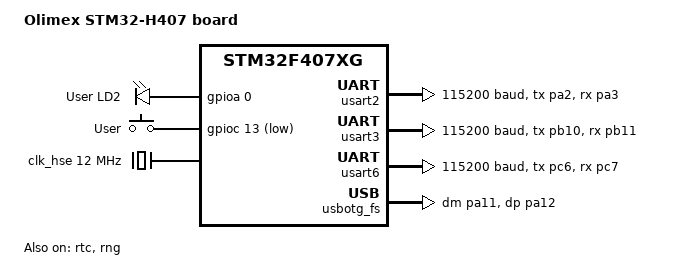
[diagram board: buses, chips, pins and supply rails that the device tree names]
/*
 * Copyright (c) 2018, Reto Schneider <code@reto-schneider.ch>
 *
 * SPDX-License-Identifier: Apache-2.0
 */

/dts-v1/;
#include <st/f4/stm32f407Xg.dtsi>
#include <st/f4/stm32f407z(e-g)tx-pinctrl.dtsi>

/ {
	model = "Olimex STM32-H407 board";
	compatible = "olimex,stm32-h407";

	chosen {
		zephyr,console = &usart2;
		zephyr,shell-uart = &usart2;
		zephyr,sram = &sram0;
		zephyr,flash = &flash0;
		zephyr,ccm = &ccm0;
	};

	leds {
		compatible = "gpio-leds";
		green_led_2: led_2 {
			gpios = <&gpioa 0 GPIO_ACTIVE_HIGH>;
			label = "User LD2";
		};
	};

	gpio_keys {
		compatible = "gpio-keys";
		user_button: button {
			label = "User";
			gpios = <&gpioc 13 GPIO_ACTIVE_LOW>;
		};
	};

	aliases {
		led0 = &green_led_2;
		sw0 = &user_button;
	};
};

&clk_hse {
	clock-frequency = <DT_FREQ_M(12)>;
	status = "okay";
};

&pll {
	div-m = <6>;
	mul-n = <168>;
	div-p = <2>;
	div-q = <7>;
	clocks = <&clk_hse>;
	status = "okay";
};

&rcc {
	clocks = <&pll>;
	clock-frequency = <DT_FREQ_M(168)>;
	ahb-prescaler = <1>;
	apb1-prescaler = <4>;
	apb2-prescaler = <2>;
};

&usart2 {
	pinctrl-0 = <&usart2_tx_pa2 &usart2_rx_pa3>;
	pinctrl-names = "default";
	current-speed = <115200>;
	status = "okay";
};

&usart3 {
	pinctrl-0 = <&usart3_tx_pb10 &usart3_rx_pb11>;
	pinctrl-names = "default";
	current-speed = <115200>;
	status = "okay";
};

&usart6 {
	pinctrl-0 = <&usart6_tx_pc6 &usart6_rx_pc7>;
	pinctrl-names = "default";
	current-speed = <115200>;
	status = "okay";
};

&rtc {
	status = "okay";
};

&rng {
	status = "okay";
};

zephyr_udc0: &usbotg_fs {
	pinctrl-0 = <&usb_otg_fs_dm_pa11 &usb_otg_fs_dp_pa12>;
	pinctrl-names = "default";
};
